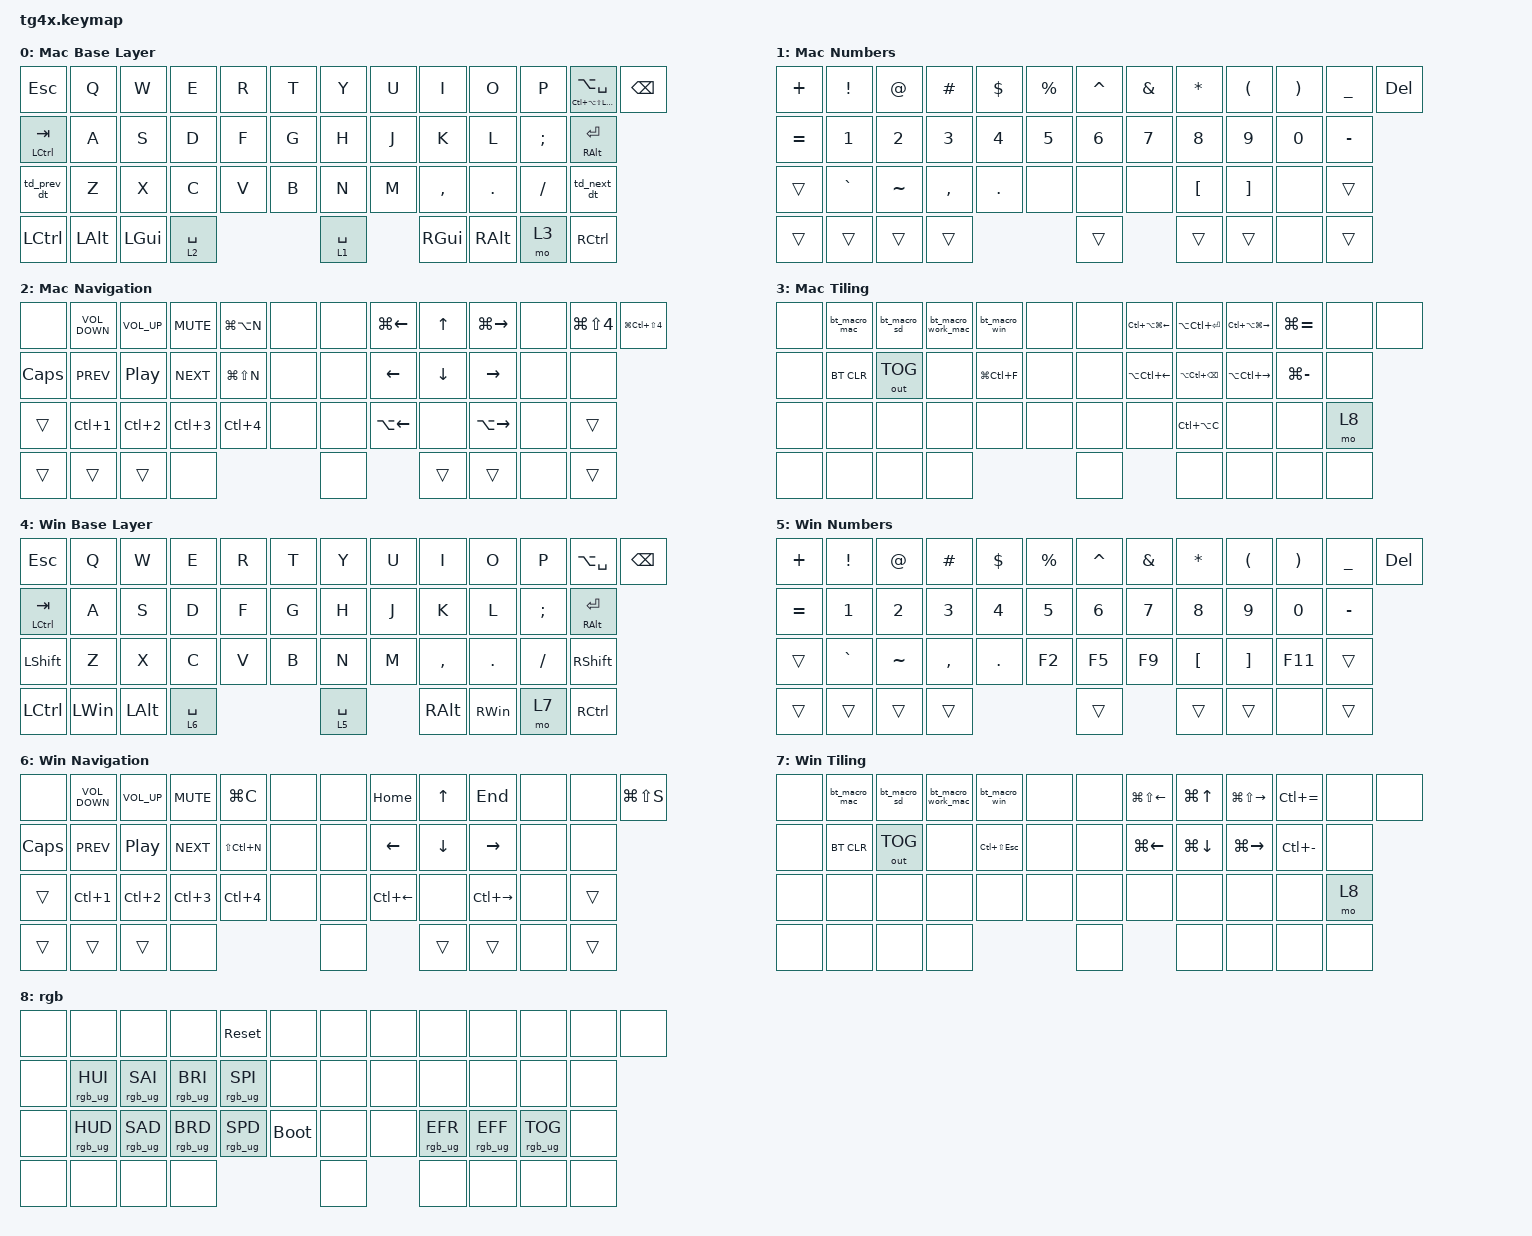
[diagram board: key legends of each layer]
/*
 * Copyright (c) 2020 The ZMK Contributors
 *
 * SPDX-License-Identifier: MIT
 */

#include <behaviors.dtsi>
#include <dt-bindings/zmk/bt.h>
#include <dt-bindings/zmk/keys.h>
#include <dt-bindings/zmk/outputs.h>
#include <dt-bindings/zmk/rgb.h>

/ {
    behaviors {
        ht: hold_tap {
            compatible = "zmk,behavior-hold-tap";
            label = "Hold Tap";
            #binding-cells = <2>;
            tapping-term-ms = <200>;
            flavor = "tap-preferred";
            bindings = <&kp>, <&kp>;
        };

        td_prev_dt: td_prev_dt {
            compatible = "zmk,behavior-tap-dance";
            label = "TD_PREV_DT";
            #binding-cells = <0>;
            bindings = <&kp LEFT_SHIFT>, <&kp LC(LEFT)>;
        };

        td_next_dt: td_next_dt {
            compatible = "zmk,behavior-tap-dance";
            label = "TD_NEXT_DT";
            #binding-cells = <0>;
            bindings = <&kp RIGHT_SHIFT>, <&kp LC(RIGHT)>;
        };
    };

    combos {
        compatible = "zmk,combos";

        lbrkt {
            bindings = <&kp LEFT_BRACKET>;
            key-positions = <4 3>;
        };

        rbrkt {
            bindings = <&kp RIGHT_BRACKET>;
            key-positions = <7 8>;
        };

        quot {
            bindings = <&kp SQT>;
            key-positions = <17 16>;
        };

        nubs {
            bindings = <&kp NON_US_BACKSLASH>;
            key-positions = <34 35>;
        };

        nuhs {
            bindings = <&kp NUHS>;
            key-positions = <20 21>;
        };

        grv {
            bindings = <&kp GRAVE>;
            key-positions = <1 0>;
        };
    };

    macros {
        bt_macro_mac: bt_macro_mac {
            compatible = "zmk,behavior-macro";
            #binding-cells = <0>;
            bindings = <&to 0 &bt BT_SEL 0>;
            label = "BT_MACRO_MAC";
        };

        bt_macro_sd: bt_macro_sd {
            compatible = "zmk,behavior-macro";
            #binding-cells = <0>;
            bindings = <&to 4 &bt BT_SEL 1>;
            label = "BT_MACRO_SD";
        };

        bt_macro_win: bt_macro_win {
            compatible = "zmk,behavior-macro";
            #binding-cells = <0>;
            bindings = <&to 4 &bt BT_SEL 3>;
            label = "BT_MACRO_WIN";
        };

        bt_macro_work_mac: bt_macro_work_mac {
            compatible = "zmk,behavior-macro";
            #binding-cells = <0>;
            bindings = <&to 0 &bt BT_SEL 2>;
            label = "BT_MACRO_WORK_MAC";
        };
    };

    keymap {
        compatible = "zmk,keymap";

        mac_base {
            bindings = <
&kp ESC        &kp Q         &kp W         &kp E        &kp R  &kp T  &kp Y        &kp U  &kp I          &kp O          &kp P     &mt LC(LA(LS(LGUI))) LA(SPACE)  &kp BSPC
&mt LCTRL TAB  &kp A         &kp S         &kp D        &kp F  &kp G  &kp H        &kp J  &kp K          &kp L          &kp SEMI  &mt RIGHT_ALT ENTER
&td_prev_dt    &kp Z         &kp X         &kp C        &kp V  &kp B  &kp N        &kp M  &kp COMMA      &kp DOT        &kp FSLH  &td_next_dt
&kp LCTRL      &kp LEFT_ALT  &kp LEFT_GUI  &lt 2 SPACE                &lt 1 SPACE         &kp RIGHT_GUI  &kp RIGHT_ALT  &mo 3     &kp RCTRL
            >;

            label = "Mac Base Layer";
        };

        mac_nums {
            bindings = <
&kp PLUS   &kp EXCLAMATION  &kp AT     &kp HASH   &kp DOLLAR  &kp PERCENT  &kp CARET  &kp AMPERSAND  &kp ASTERISK      &kp LEFT_PARENTHESIS  &kp RIGHT_PARENTHESIS  &kp UNDER  &kp DELETE
&kp EQUAL  &kp N1           &kp N2     &kp N3     &kp N4      &kp N5       &kp N6     &kp N7         &kp N8            &kp N9                &kp N0                 &kp MINUS
&trans     &kp GRAVE        &kp TILDE  &kp COMMA  &kp DOT     &none        &none      &none          &kp LEFT_BRACKET  &kp RIGHT_BRACKET     &none                  &trans
&trans     &trans           &trans     &trans                              &trans                    &trans            &trans                &none                  &trans
            >;

            label = "Mac Numbers";
        };

        mac_navi {
            bindings = <
&none     &kp C_VOLUME_DOWN  &kp C_VOL_UP      &kp K_MUTE  &kp LG(LA(N))  &none  &none  &kp LG(LEFT)        &kp UP    &kp LG(RIGHT_ARROW)  &none  &kp LG(LS(N4))  &kp LG(LC(LS(N4)))
&kp CAPS  &kp C_PREV         &kp C_PLAY_PAUSE  &kp C_NEXT  &kp LG(LS(N))  &none  &none  &kp LEFT            &kp DOWN  &kp RIGHT            &none  &none
&trans    &kp LC(N1)         &kp LC(N2)        &kp LC(N3)  &kp LC(N4)     &none  &none  &kp LA(LEFT_ARROW)  &none     &kp LA(RIGHT)        &none  &trans
&trans    &trans             &trans            &none                             &none                      &trans    &trans               &none  &trans
            >;

            label = "Mac Navigation";
        };

        mac_tiling {
            bindings = <
&none  &bt_macro_mac  &bt_macro_sd  &bt_macro_work_mac  &bt_macro_win  &none  &none  &kp LC(LA(LG(LEFT)))  &kp LA(LC(ENTER))      &kp LC(LA(LG(RIGHT)))  &kp LG(EQUAL)  &none  &none
&none  &bt BT_CLR     &out OUT_TOG  &none               &kp LG(LC(F))  &none  &none  &kp LA(LC(LEFT))      &kp LA(LC(BACKSPACE))  &kp LA(LC(RIGHT))      &kp LG(MINUS)  &none
&none  &none          &none         &none               &none          &none  &none  &none                 &kp LC(LA(C))          &none                  &none          &mo 8
&none  &none          &none         &none                                     &none                        &none                  &none                  &none          &none
            >;

            label = "Mac Tiling";
        };

        win_base {
            bindings = <
&kp ESC         &kp Q         &kp W         &kp E        &kp R  &kp T  &kp Y        &kp U  &kp I          &kp O          &kp P     &kp LA(SPACE)        &kp BSPC
&mt LCTRL TAB   &kp A         &kp S         &kp D        &kp F  &kp G  &kp H        &kp J  &kp K          &kp L          &kp SEMI  &mt RIGHT_ALT ENTER
&kp LEFT_SHIFT  &kp Z         &kp X         &kp C        &kp V  &kp B  &kp N        &kp M  &kp COMMA      &kp DOT        &kp FSLH  &kp RIGHT_SHIFT
&kp LCTRL       &kp LEFT_WIN  &kp LEFT_ALT  &lt 6 SPACE                &lt 5 SPACE         &kp RIGHT_ALT  &kp RIGHT_WIN  &mo 7     &kp RCTRL
            >;

            label = "Win Base Layer";
        };

        win_nums {
            label = "Win Numbers";
            bindings = <
&kp PLUS   &kp EXCLAMATION  &kp AT     &kp HASH   &kp DOLLAR  &kp PERCENT  &kp CARET  &kp AMPERSAND  &kp ASTERISK      &kp LEFT_PARENTHESIS  &kp RIGHT_PARENTHESIS  &kp UNDER  &kp DELETE
&kp EQUAL  &kp N1           &kp N2     &kp N3     &kp N4      &kp N5       &kp N6     &kp N7         &kp N8            &kp N9                &kp N0                 &kp MINUS
&trans     &kp GRAVE        &kp TILDE  &kp COMMA  &kp DOT     &kp F2       &kp F5     &kp F9         &kp LEFT_BRACKET  &kp RIGHT_BRACKET     &kp F11                &trans
&trans     &trans           &trans     &trans                              &trans                    &trans            &trans                &none                  &trans
            >;
        };

        win_navi {
            label = "Win Navigation";
            bindings = <
&none     &kp C_VOLUME_DOWN  &kp C_VOL_UP      &kp K_MUTE  &kp LG(C)      &none  &none  &kp HOME            &kp UP    &kp END        &none  &none   &kp LG(LS(S))
&kp CAPS  &kp C_PREV         &kp C_PLAY_PAUSE  &kp C_NEXT  &kp LS(LC(N))  &none  &none  &kp LEFT            &kp DOWN  &kp RIGHT      &none  &none
&trans    &kp LC(N1)         &kp LC(N2)        &kp LC(N3)  &kp LC(N4)     &none  &none  &kp LC(LEFT_ARROW)  &none     &kp LC(RIGHT)  &none  &trans
&trans    &trans             &trans            &none                             &none                      &trans    &trans         &none  &trans
            >;
        };

        win_tiling {
            label = "Win Tiling";
            bindings = <
&none  &bt_macro_mac  &bt_macro_sd  &bt_macro_work_mac  &bt_macro_win       &none  &none  &kp LG(LS(LEFT))  &kp LG(UP_ARROW)  &kp LG(LS(RIGHT))  &kp LC(EQUAL)  &none  &none
&none  &bt BT_CLR     &out OUT_TOG  &none               &kp LC(LS(ESCAPE))  &none  &none  &kp LG(LEFT)      &kp LG(DOWN)      &kp LG(RIGHT)      &kp LC(MINUS)  &none
&none  &none          &none         &none               &none               &none  &none  &none             &none             &none              &none          &mo 8
&none  &none          &none         &none                                          &none                    &none             &none              &none          &none
            >;
        };

        rgb {
            bindings = <
&none  &none            &none            &none            &sys_reset       &none        &none  &none  &none            &none            &none            &none  &none
&none  &rgb_ug RGB_HUI  &rgb_ug RGB_SAI  &rgb_ug RGB_BRI  &rgb_ug RGB_SPI  &none        &none  &none  &none            &none            &none            &none
&none  &rgb_ug RGB_HUD  &rgb_ug RGB_SAD  &rgb_ug RGB_BRD  &rgb_ug RGB_SPD  &bootloader  &none  &none  &rgb_ug RGB_EFR  &rgb_ug RGB_EFF  &rgb_ug RGB_TOG  &none
&none  &none            &none            &none                                          &none         &none            &none            &none            &none
            >;
        };
    };

    conditional_layers { compatible = "zmk,conditional-layers"; };
};
